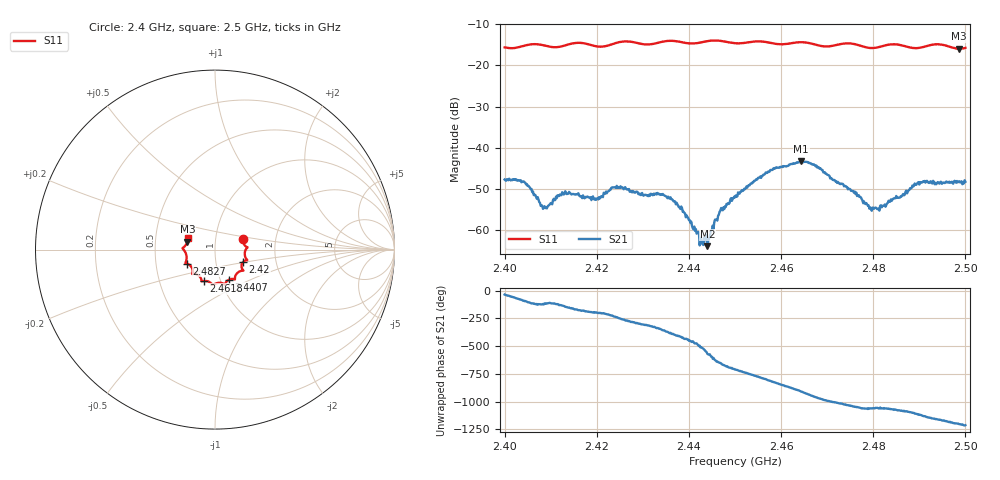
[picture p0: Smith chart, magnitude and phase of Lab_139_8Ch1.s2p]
# Hz S RI R 50
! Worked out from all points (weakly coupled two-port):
!   601 points, 2.4 GHz to 2.5 GHz, reference 50 ohm
!   highest |S21| = -43.37 dB at 2.4643 GHz (marker M1); lowest = -64.0 dB at 2.444 GHz (marker M2)
!   lowest |S11| = -15.9 dB at 2.4987 GHz (marker M3), VSWR 1.38, Z = 36.5 + j3.25 ohm
!   |S11| at or under -10 dB: start of sweep to end of sweep
!   S12 and S22 are empty: the file has one direction only
!   S11 on the Smith chart (normalised r, x): 2.4 GHz: 1.35, +0.17; 2.42 GHz: 1.36, -0.19; 2.4407 GHz: 1.10, -0.38; 2.4618 GHz: 0.83, -0.30; 2.4827 GHz: 0.72, -0.12; 2.5 GHz: 0.73, +0.10
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2.4e9  0.1545 0.0614  0.00334 -0.00235  0 0  0 0
2.404333e9  0.1739 0.0163  -0.00029 -0.00376  0 0  0 0
2.408667e9  0.1752 0.00585  -0.000811 -0.00176  0 0  0 0
2.412833e9  0.169 -0.0409  -0.002 -0.00179  0 0  0 0
2.416667e9  0.1789 -0.0585  -0.00253 9.17e-05  0 0  0 0
2.42e9  0.1565 -0.069  -0.0023 0.000646  0 0  0 0
2.423833e9  0.1514 -0.1075  -0.00192 0.00266  0 0  0 0
2.433333e9  0.1115 -0.153  0.00252 0.00101  0 0  0 0
2.4365e9  0.1107 -0.1661  0.00201 -0.00112  0 0  0 0
2.440667e9  0.0791 -0.1675  -0.00025 -0.00109  0 0  0 0
2.444e9  0.0559 -0.1899  -0.000552 0.000303  0 0  0 0
2.447e9  0.0497 -0.1927  0.000828 0.00164  0 0  0 0
2.45e9  0.0268 -0.1848  0.00245 0.000321  0 0  0 0
2.461833e9  -0.0614 -0.1749  -0.00555 -0.00286  0 0  0 0
2.464333e9  -0.0742 -0.177  -0.00669 0.00114  0 0  0 0
2.466667e9  -0.0757 -0.1682  -0.00422 0.0046  0 0  0 0
2.479333e9  -0.1302 -0.0986  0.00178 0.000574  0 0  0 0
2.482667e9  -0.158 -0.0778  0.00182 0.00058  0 0  0 0
2.483333e9  -0.1619 -0.0769  0.00216 0.000654  0 0  0 0
2.490667e9  -0.1665 -0.0125  0.00253 -0.0028  0 0  0 0
2.498667e9  -0.1539 0.0433  -0.0022 -0.00321  0 0  0 0
2.5e9  -0.151 0.0631  -0.00264 -0.00278  0 0  0 0
